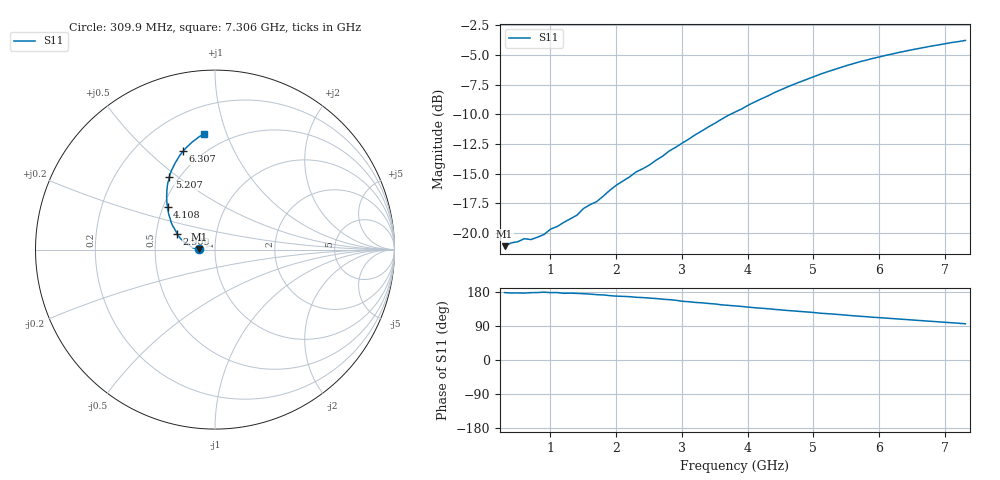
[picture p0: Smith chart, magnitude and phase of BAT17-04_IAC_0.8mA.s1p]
! Infineon Technologies  Discrete & RF Semiconductors
! BAT17-04
! IAC = 0.8 mA
! One-Port S-Parameters
# Hz  S  MA  R  50
!f  S11
!Hz  Mag  Ang
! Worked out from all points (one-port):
!   71 points, 309.9 MHz to 7.306 GHz, reference 50 ohm
!   lowest |S11| = -21.1 dB at 309.9 MHz (marker M1), VSWR 1.19, Z = 41.9 + j0.283 ohm
!   |S11| at or under -10 dB: start of sweep to 3.741 GHz
!   S11 on the Smith chart (normalised r, x): 309.9 MHz: 0.84, +0.01; 2.909 GHz: 0.64, +0.12; 4.108 GHz: 0.53, +0.29; 5.207 GHz: 0.44, +0.46; 6.307 GHz: 0.40, +0.65; 7.306 GHz: 0.38, +0.83
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3.0985e8  0.08811 177.8
6.097e8  0.09474 176.5
7.0965e8  0.09393 177.7
8.096e8  0.09614 178.0
9.0955e8  0.09869 179.0
1.0095e9  0.104 177.8
1.10945e9  0.1066 177.9
1.2094e9  0.111 176.0
1.4093e9  0.119 175.8
1.50925e9  0.127 174.9
1.70915e9  0.1358 172.4
1.90905e9  0.1516 169.8
2.10895e9  0.1658 167.9
2.30885e9  0.181 165.5
2.50875e9  0.1934 163.4
2.6087e9  0.2026 162.2
2.90855e9  0.2297 157.7
3.0085e9  0.2394 155.0
3.50825e9  0.2904 147.8
3.8081e9  0.3229 142.8
4.10795e9  0.3563 138.0
4.70765e9  0.4234 129.4
5.2074e9  0.4769 122.3
5.6072e9  0.5163 116.7
6.30685e9  0.5762 108.0
6.50675e9  0.5914 105.5
6.8066e9  0.6131 101.9
7.30635e9  0.6463 95.6
